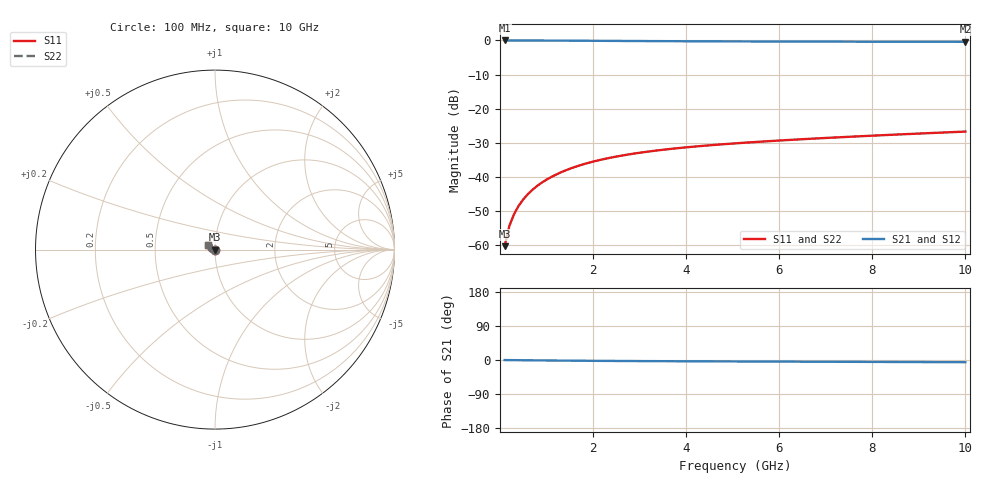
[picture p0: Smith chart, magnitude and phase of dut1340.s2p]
! Touchstone file exported from HFSS 2024.1.0
!  File:  C:/UserFiles/LocalFiles/RDL_TSV_Batchsim/temp_TSV1_1340_1780376283.aedt
!  Generated:  01:03:43 PM Jun  2, 2026
!  Design:  TSV1
!  Project:  temp_TSV1_1340_1780376283
!  Setup:  Setup1
!  Solution:  Sweep
! Variables:
!  dtsv = 7.93um
!  hbump = 3um
!  htsv = 87.49um
!  lrdl = 252.1521522um
!  p = 40
!  p1 = 58.45um
!  t = 500um
!  trdl = 3um
!  wrdl = 24.89489489um
# GHz S MA R 50.000000
! Terminal data exported
! Port[1] = TSV22_T1
! Port[2] = TSV22_T2
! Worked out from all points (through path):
!   100 points, 100 MHz to 10 GHz, reference 50 ohm
!   highest |S21| = 0.00 dB at 100 MHz (marker M1); lowest = -0.4 dB at 10 GHz (marker M2)
!   lowest |S11| = -60.4 dB at 100 MHz (marker M3), VSWR 1.00, Z = 50 - j0.0936 ohm
!   |S11| at or under -10 dB: start of sweep to end of sweep
!   |S22| runs from -60.4 to -26.7 dB; largest |S21 - S12| = 4.5e-15
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0.1  0.0009574 -77.6  0.9997 -0.1  0.9997 -0.1  0.0009574 -77.6
! Gamma 0 0 0 0
! Port Impedance 50 0 50 0
0.2  0.001879 -87.0  0.9996 -0.3  0.9996 -0.3  0.001879 -87.0
0.3  0.002806 -91.7  0.9994 -0.4  0.9994 -0.4  0.002806 -91.7
0.4  0.00373 -95.2  0.9991 -0.5  0.9991 -0.5  0.00373 -95.2
0.5  0.004646 -98.1  0.9988 -0.6  0.9988 -0.6  0.004646 -98.1
0.6  0.005553 -100.9  0.9984 -0.7  0.9984 -0.7  0.005553 -100.9
0.7  0.00645 -103.4  0.9979 -0.9  0.9979 -0.9  0.00645 -103.4
0.8  0.007334 -105.9  0.9974 -1.0  0.9974 -1.0  0.007334 -105.9
0.9  0.008205 -108.2  0.9969 -1.1  0.9969 -1.1  0.008205 -108.2
1.1  0.009902 -112.8  0.9956 -1.3  0.9956 -1.3  0.009902 -112.8
1.4  0.01232 -119.3  0.9934 -1.6  0.9934 -1.6  0.01232 -119.3
1.6  0.01384 -123.4  0.9918 -1.8  0.9918 -1.8  0.01384 -123.4
1.8  0.01529 -127.3  0.9901 -2.0  0.9901 -2.0  0.01529 -127.3
2.1  0.01732 -133.0  0.9875 -2.2  0.9875 -2.2  0.01732 -133.0
2.5  0.01977 -140.0  0.9841 -2.5  0.9841 -2.5  0.01977 -140.0
2.9  0.02197 -146.5  0.9809 -2.8  0.9809 -2.8  0.02197 -146.5
3.4  0.02441 -154.0  0.9772 -3.1  0.9772 -3.1  0.02441 -154.0
4.2  0.02778 -164.4  0.9721 -3.5  0.9721 -3.5  0.02778 -164.4
5.1  0.03104 -174.5  0.9676 -3.9  0.9676 -3.9  0.03104 -174.5
6.7  0.03615 170.9  0.9619 -4.5  0.9619 -4.5  0.03615 170.9
8.4  0.04123 158.8  0.958 -5.2  0.958 -5.2  0.04123 158.8
10  0.04598 149.7  0.9554 -5.8  0.9554 -5.8  0.04598 149.7
